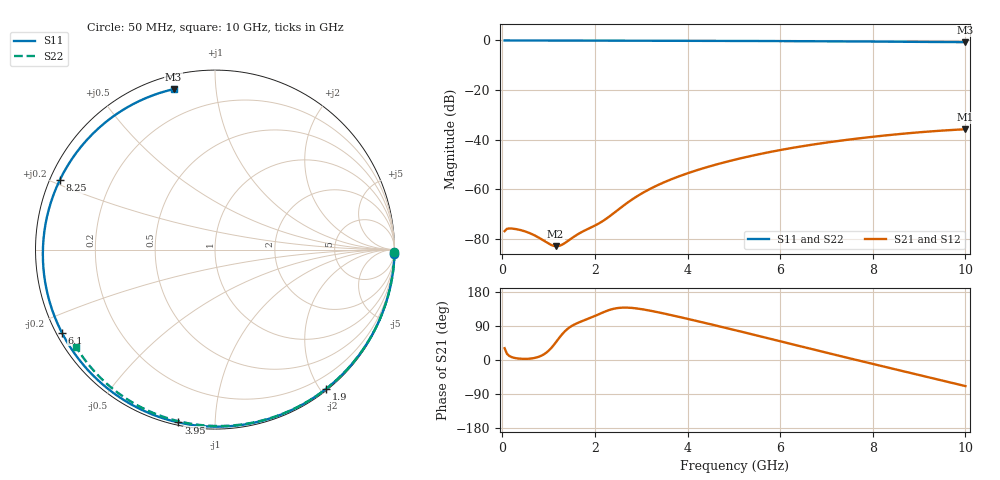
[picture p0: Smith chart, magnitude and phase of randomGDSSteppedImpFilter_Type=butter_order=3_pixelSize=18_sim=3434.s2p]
! freq	dB(S11)	phase(S11)	dB(S12)	phase(S12)
!  dB(S21)	phase(S21)	dB(S22)	phase(S22)
!S-par simulation data
#  GHz  S  DB  R 50
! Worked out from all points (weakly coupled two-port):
!   200 points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, 50 MHz to 10 GHz, reference 50 ohm
!   highest |S21| = -35.77 dB at 10 GHz (marker M1); lowest = -82.9 dB at 1.15 GHz (marker M2)
!   lowest |S11| = -0.7 dB at 10 GHz (marker M3), VSWR 25.01, Z = 3.19 + j38.6 ohm
!   |S11| at or under -10 dB: nowhere
!   |S22| runs from -0.5 to 0.0 dB; largest |S21 - S12| = 0
!   S11 on the Smith chart (normalised r, x): 50 MHz: 0, -83; 1.9 GHz: 0.02, -2.08; 3.95 GHz: 0.01, -0.81; 6.1 GHz: 0.02, -0.25; 8.25 GHz: 0.03, +0.21; 10 GHz: 0.06, +0.77
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0.05  -0.00 -1.4  -76.83 31.1  -76.83 31.1  -0.00 -0.8
0.1  -0.00 -2.8  -75.88 16.5  -75.88 16.5  -0.00 -1.7
0.3  -0.01 -8.3  -76.00 4.6  -76.00 4.6  -0.00 -5.0
0.55  -0.02 -15.2  -77.29 3.1  -77.29 3.1  -0.01 -9.1
0.85  -0.03 -23.4  -80.13 11.7  -80.13 11.7  -0.02 -14.0
1.15  -0.04 -31.4  -82.87 45.6  -82.87 45.6  -0.02 -18.9
1.45  -0.05 -39.4  -80.32 85.9  -80.32 85.9  -0.03 -23.8
1.75  -0.06 -47.4  -76.83 103.7  -76.83 103.7  -0.04 -28.6
1.9  -0.06 -51.3  -75.47 110.8  -75.47 110.8  -0.04 -31.0
2.2  -0.07 -59.0  -72.40 126.9  -72.40 126.9  -0.05 -35.8
2.65  -0.09 -70.4  -66.08 138.3  -66.08 138.3  -0.05 -42.8
3  -0.10 -79.1  -61.75 134.4  -61.75 134.4  -0.06 -48.3
3.4  -0.11 -88.9  -57.90 125.0  -57.90 125.0  -0.07 -54.4
3.95  -0.14 -102.0  -53.83 110.0  -53.83 110.0  -0.09 -62.6
5.05  -0.19 -127.5  -47.90 78.1  -47.90 78.1  -0.12 -78.6
6.1  -0.26 -151.5  -43.81 46.5  -43.81 46.5  -0.16 -93.3
6.7  -0.31 -165.5  -41.96 28.3  -41.96 28.3  -0.20 -101.4
7.5  -0.38 175.2  -39.90 4.4  -39.90 4.4  -0.25 -112.0
8.25  -0.47 155.9  -38.30 -17.7  -38.30 -17.7  -0.30 -121.9
8.35  -0.48 153.3  -38.11 -20.6  -38.11 -20.6  -0.31 -123.2
9.15  -0.58 130.8  -36.77 -44.0  -36.77 -44.0  -0.39 -133.7
10  -0.69 104.5  -35.77 -68.8  -35.77 -68.8  -0.49 -145.1
